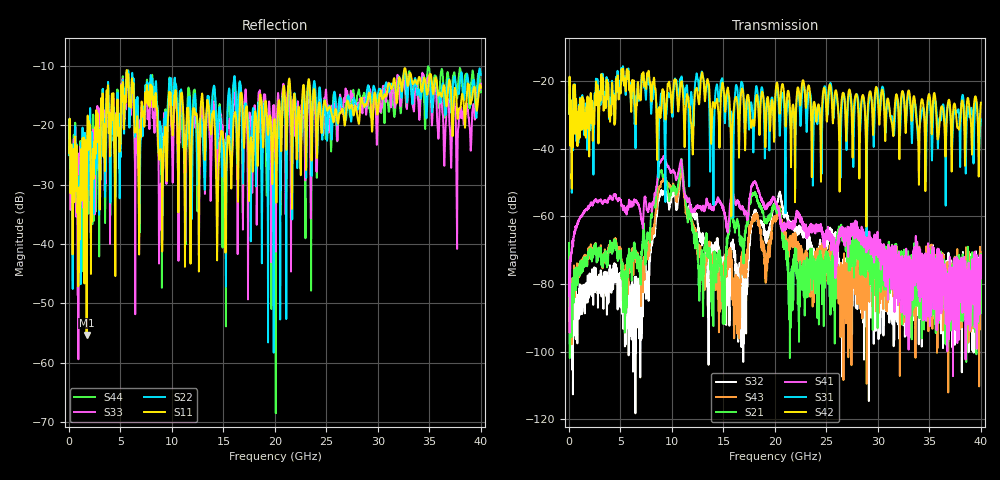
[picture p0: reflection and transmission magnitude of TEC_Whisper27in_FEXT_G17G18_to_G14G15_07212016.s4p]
! TE Connectivity
! G17G18-G14G15_FEXT
!! PART DESCRIPTION: Whisper 27in Megtron 6 HVLP-HVLP-HVLP Channel Model, bulkhead 2.92mm test points
!! MODEL DESCRIPTION: System 4-port S-parameter
!! MODEL STATUS: Measured
!! MODEL GEOMETRY: Channel Model
!! MODEL FREQUENCY RANGE: DC to 40 GHz in 10 MHz frequency steps
!! MODEL EDGE RATE LIMITATION: 12.5 ps (Using conservative 0.5/Fmax rule of thumb)
!! TIME-DOMAIN TRANSFORM CAUTIONS:
!! 1.) Do not simulate transient edge rates faster than the number listed above.  Edge
!!  rates faster than this number contain significant spectral content at frequencies
!!  above the model's highest frequency.
!! 2.) Even when simulating edge rates that are slower than the number listed above, be
!!  aware that the best time resolution possible with a direct iFFT is (1 / 2Fmax).
!!  As a result, time resolution is typically not adequate for most time-domain
!!  simulations unless tricks such as frequency-domain zero-padding and windowing are
!!  used to minimize leakage and aliasing.
!! 3.) Because the model has a uniform frequency step, a direct iFFT will result in an
!!  impulse that that has a time length given by either (1 / Fstep) or (1 / 2Fstep),
!!  depending on the transform being used.  Care has been taken in selecting the
!!  frequency step to ensure a settled impulse response for the model.  Therefore,
!!  convolution with the model's impulse response should present no issues.  However,
!!  if directly concatenating s-parameter models in the frequency domain a user must
!!  either interpolate necessary interim frequencies or complete impulse response
!!  zero-padding.  Impulse response zero-padding is more difficult, but more accurate.
!! PORT DEFINITIONS:
!! Port  1  ----->  Side A  G17  G14  Side B  <-----  Port  2
!! Port  3  ----->  Side A  G18  G15  Side B  <-----  Port  4
! Point-to-Point link (differential)  !
! Connectors:  !
!  1: STRADA Whisper 3.9mm  !
! Materials:  !
!  Backplane: Megtron-6 HVLP  !
!  Daughtercard: Megtron-6 HVLP  !
! Stack-up:  !
!  Backplane: 20 layers, 190mil thick  !
!  Daughtercard: 14 layers, 110mil thick  !
! Trace Length:  !
!  Backplane: 17in  !
!  Daughtercards: 5in  !
! Trace Width:  !
!  Backplane: 5.75-6.25-5.75 mils  !
!  Daughtercards: 6-9-6 mils  !
! Geometry:  !
!  Backplane: Stripline  !
!  Daughtercards: Stripline  !
! Layer Connections:  !
!  Backplane: Layer 16, counterbored(1-6mil stub)  !
!  Daughtercard: Layer 9, counterbored(1-6mil stub) !
! Freq. Range: 0 GHz - 40 GHz  !
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# hz S ma R 50
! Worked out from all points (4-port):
!   4000 points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, 10 MHz to 40 GHz, reference 50 ohm
!   strongest paths, dB at 10 MHz, 10.01 GHz, 20.01 GHz, 30.01 GHz, 40 GHz:
!     S42: -29.6, -28.5, -26.4, -26.0, -26.4
!     S31: -29.7, -29.0, -27.3, -22.8, -31.3
!     S41: -73.1, -46.7, -55.5, -70.3, -78.4
!     S21: -67.8, -52.2, -57.6, -74.4, -71.1
!     S43: -77.1, -51.3, -61.0, -75.5, -81.5
!     S32: -86.1, -54.1, -56.7, -81.7, -76.2
!   lowest |S11| = -55.4 dB at 1.71 GHz (marker M1), VSWR 1.00, Z = 50.1 - j0.114 ohm
!   |S11| at or under -10 dB: start of sweep to end of sweep
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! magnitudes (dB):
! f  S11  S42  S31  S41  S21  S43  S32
! 10 MHz  -24.7  -29.6  -29.7  -73.1  -67.8  -77.1  -86.1
! 1.71 GHz  -55.4  -27.8  -27.9  -58.1  -74.0  -72.5  -80.4
! 10.94 GHz  -14.5  -20.0  -18.7  -44.1  -43.2  -46.5  -46.5
! 14.99 GHz  -22.7  -21.8  -22.4  -57.1  -84.0  -76.5  -75.0
! 17.95 GHz  -21.5  -32.9  -34.4  -49.9  -53.7  -60.8  -59.6
! 21.5 GHz  -14.5  -32.6  -33.0  -62.7  -77.6  -65.7  -62.9
! 40 GHz  -13.6  -26.4  -31.3  -78.4  -71.1  -81.5  -76.2
